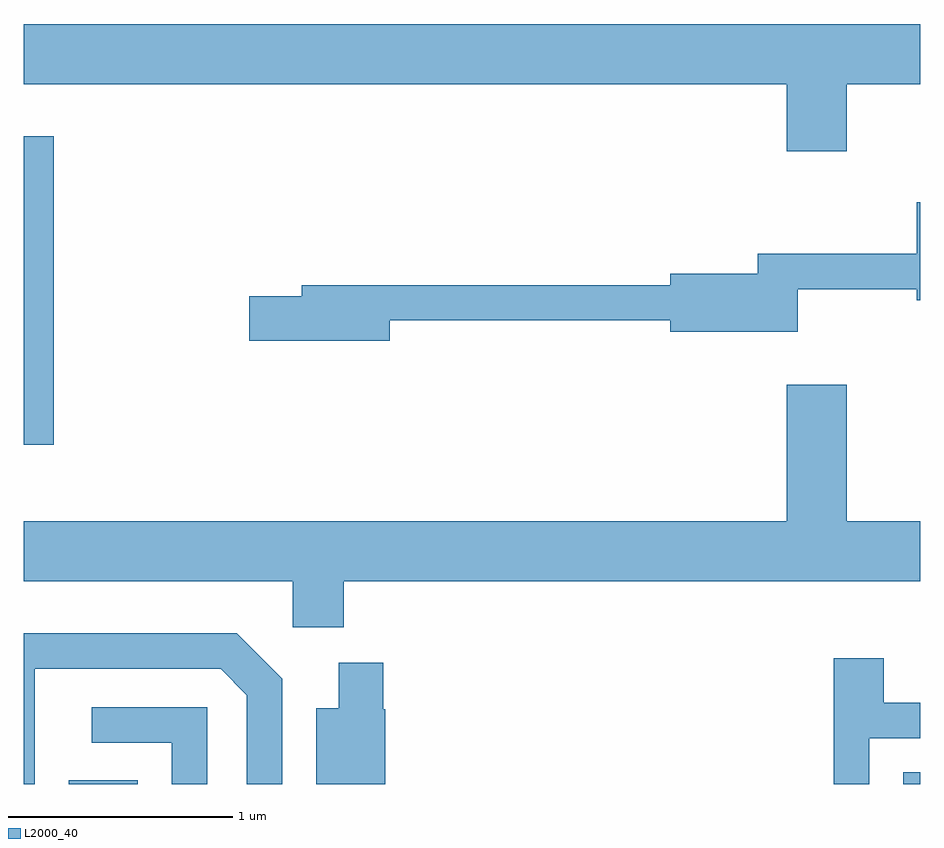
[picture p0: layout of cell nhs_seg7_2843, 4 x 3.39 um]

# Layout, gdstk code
import gdstk
lib = gdstk.Library(unit=1e-6, precision=1e-09)
def R(c, l, rs):  # rectangles x0, y0, x1, y1
    for r in rs: c.add(gdstk.rectangle(r[:2], r[2:], *l))
def P(c, l, *ps):  # polygons
    for p in ps: c.add(gdstk.Polygon(p, *l))
L2000_40 = (2000, 40)

nhs_seg7_2843 = lib.new_cell('nhs_seg7_2843')
R(nhs_seg7_2843, L2000_40, [(271.811,1762.252,272.119,1762.269), (275.536,1762.252,275.611,1762.304), (271.611,1763.766,271.744,1765.144)])
P(nhs_seg7_2843, L2000_40, [(275.284,1765.376),(275.611,1765.376),(275.611,1765.644),(271.611,1765.644),(271.611,1765.376),(275.016,1765.376),(275.016,1765.076),(275.284,1765.076)],
  [(273.244,1764.321),(274.496,1764.321),(274.496,1764.271),(275.064,1764.271),(275.064,1764.461),(275.596,1764.461),(275.596,1764.411),(275.611,1764.411),(275.611,1764.849),(275.596,1764.849),(275.596,1764.619),(274.886,1764.619),(274.886,1764.529),(274.496,1764.529),(274.496,1764.479),(272.851,1764.479),(272.851,1764.429),(272.616,1764.429),(272.616,1764.231),(273.244,1764.231)],
  [(273.039,1763.156),(275.611,1763.156),(275.611,1763.424),(275.284,1763.424),(275.284,1764.034),(275.016,1764.034),(275.016,1763.424),(271.611,1763.424),(271.611,1763.156),(272.811,1763.156),(272.811,1762.951),(273.039,1762.951)],
  [(271.659,1762.766),(272.489,1762.766),(272.606,1762.649),(272.606,1762.252),(272.764,1762.252),(272.764,1762.722),(272.562,1762.924),(271.611,1762.924),(271.611,1762.252),(271.659,1762.252)],
  [(275.384,1762.456),(275.611,1762.456),(275.611,1762.614),(275.449,1762.614),(275.449,1762.814),(275.226,1762.814),(275.226,1762.252),(275.384,1762.252)],
  [(273.224,1762.585),(273.214,1762.585),(273.214,1762.794),(273.016,1762.794),(273.016,1762.589),(272.916,1762.589),(272.916,1762.252),(273.224,1762.252)],
  [(272.429,1762.594),(271.913,1762.594),(271.913,1762.436),(272.271,1762.436),(272.271,1762.252),(272.429,1762.252)])

lib.write_gds('nhs_seg7_2843.gds')
